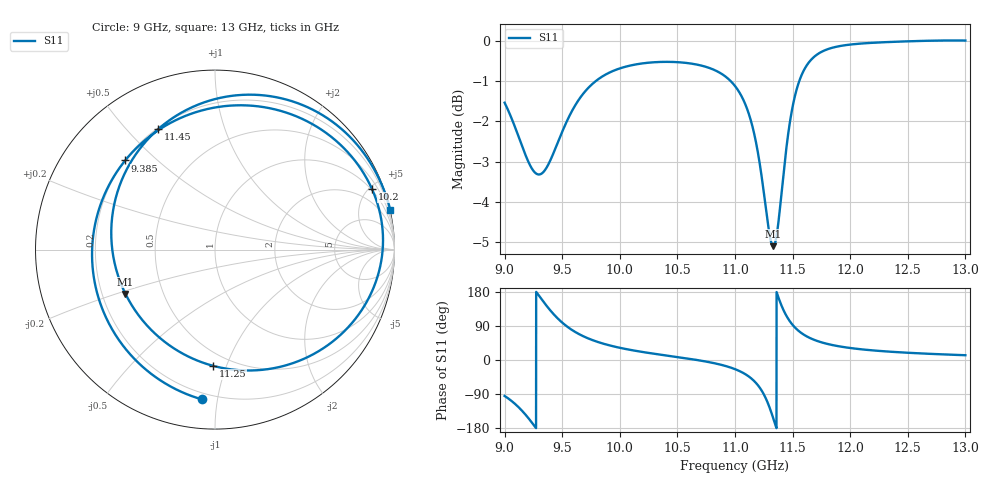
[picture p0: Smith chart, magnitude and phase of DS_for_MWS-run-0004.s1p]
! TOUCHSTONE file generated by CST DESIGN STUDIO
! Date and time: Tue Feb  4 16:00:34 2025
! Project name: C:\Work\MatlabApps\UnitCellOptimizationMatlab\CST\unitcell.cst
! Tree item: Tasks\Sweep1\SPara1\S-Parameters
! Header version: 2024
! Port assignment regex: !\s*Touchstone port\s*([0-9]+)\s*=\s*(CST MWS port|CST DES external port|CST DES block port)\s*(.+)\s* \(\"(.*)\"\)(\s*mode\s*([0-9]+))?.*
! Touchstone port assignment:
! Touchstone port 1 = CST DES external port 1 ("")
# GHz S MA R 50
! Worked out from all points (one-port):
!   4001 points, 9 GHz to 13 GHz, reference 50 ohm
!   lowest |S11| = -5.1 dB at 11.33 GHz (marker M1), VSWR 3.51, Z = 15 - j10.7 ohm
!   |S11| at or under -10 dB: nowhere
!   S11 on the Smith chart (normalised r, x): 9 GHz: 0.16, -0.91; 9.385 GHz: 0.20, +0.40; 10.2 GHz: 0.93, +5.19; 11.25 GHz: 0.40, -0.90; 11.45 GHz: 0.21, +0.62; 13 GHz: -0.02, +9.05
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9  0.838 -94.9
9.116  0.7643 -123.0
9.229  0.6974 -162.1
9.304  0.6828 167.3
9.385  0.705 135.2
9.5  0.7713 98.7
9.594  0.8228 77.5
9.723  0.8731 57.3
9.849  0.9032 43.8
10  0.924 32.2
10.197  0.9374 21.2
10.5  0.9407 7.7
10.807  0.9217 -7.6
11  0.8788 -24.1
11.14  0.7942 -48.3
11.195  0.732 -65.1
11.251  0.6471 -91.1
11.292  0.5849 -118.9
11.332  0.5564 -153.7
11.385  0.6099 158.3
11.449  0.7423 115.1
11.5  0.8283 92.7
11.587  0.9126 68.9
11.687  0.9551 53.2
11.818  0.9776 41.3
12  0.9891 31.7
12.5  0.9983 19.1
13  1.001 12.6
